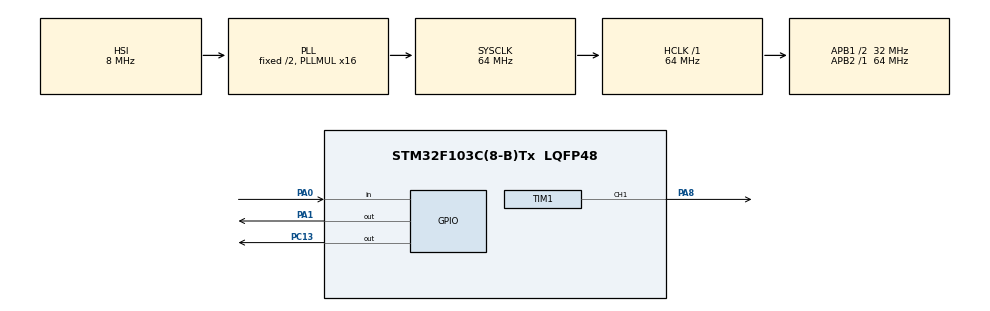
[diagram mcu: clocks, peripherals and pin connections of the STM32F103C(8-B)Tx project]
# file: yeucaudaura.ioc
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Mcu.Family=STM32F1
Mcu.Name=STM32F103C(8-B)Tx
Mcu.Package=LQFP48
NVIC.PriorityGroup=NVIC_PRIORITYGROUP_4
PA0-WKUP.GPIO_PuPd=GPIO_PULLUP
PA0-WKUP.Signal=GPIO_Input
PA1.Signal=GPIO_Output
PA13.Mode=Serial_Wire
PA13.Signal=SYS_JTMS-SWDIO
PA14.Mode=Serial_Wire
PA14.Signal=SYS_JTCK-SWCLK
PA8.Signal=S_TIM1_CH1
PC13-TAMPER-RTC.Signal=GPIO_Output
PD0-OSC_IN.Mode=HSE-External-Oscillator
PD0-OSC_IN.Signal=RCC_OSC_IN
PD1-OSC_OUT.Mode=HSE-External-Oscillator
PD1-OSC_OUT.Signal=RCC_OSC_OUT
ProjectManager.HeapSize=0x200
ProjectManager.StackSize=0x400
ProjectManager.TargetToolchain=MDK-ARM V5
RCC.AHBFreq_Value=64000000
RCC.APB1CLKDivider=RCC_HCLK_DIV2
RCC.APB1Freq_Value=32000000
RCC.APB1TimFreq_Value=64000000
RCC.APB2Freq_Value=64000000
RCC.APB2TimFreq_Value=64000000
RCC.HCLKFreq_Value=64000000
RCC.PLLMUL=RCC_PLL_MUL16
RCC.SYSCLKFreq_VALUE=64000000
RCC.SYSCLKSource=RCC_SYSCLKSOURCE_PLLCLK
RCC.USBFreq_Value=64000000
SH.S_TIM1_CH1.0=TIM1_CH1,PWM Generation1 CH1
TIM1.Channel-PWM\ Generation1\ CH1=TIM_CHANNEL_1
TIM1.Period=999
TIM1.Prescaler=63
VP_TIM1_VS_ClockSourceINT.Mode=Internal
board=custom

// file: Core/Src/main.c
/* USER CODE BEGIN Header */
/**
  ******************************************************************************
  * @file           : main.c
  * @brief          : Main program body
  ******************************************************************************
  * @attention
  *
  * Copyright (c) 2024 STMicroelectronics.
  * All rights reserved.
  *
  * This software is licensed under terms that can be found in the LICENSE file
  * in the root directory of this software component.
  * If no LICENSE file comes with this software, it is provided AS-IS.
  *
  ******************************************************************************
  */
/* USER CODE END Header */
#include "main.h"

TIM_HandleTypeDef htim1;

void SystemClock_Config(void);
static void MX_GPIO_Init(void);
static void MX_TIM1_Init(void);

/* USER CODE BEGIN 0 */
uint8_t sta_button;
uint8_t dosang;
void led_on_off() // bat/tat den
{
		if(sta_button == 0)
		{
			htim1.Instance->CCR1 = 999;
			HAL_Delay(100);
			htim1.Instance->CCR1 = 0;
			HAL_Delay(100);
		}

}
void led_rising_falling() // tang giam do sang cua den
{
	if(sta_button == 1)
	{
		htim1.Instance->CCR1 = dosang;
		dosang++;
		HAL_Delay(10);
		if(dosang == 999)
		{
			dosang =0;

		}
	}

}
/* USER CODE END 0 */

int main(void)
{

  /* MCU Configuration--------------------------------------------------------*/

  /* Reset of all peripherals, Initializes the Flash interface and the Systick. */
  HAL_Init();

  /* Configure the system clock */
  SystemClock_Config();

  /* Initialize all configured peripherals */
  MX_GPIO_Init();
  MX_TIM1_Init();
  /* USER CODE BEGIN 2 */
	HAL_TIM_PWM_Start(&htim1, TIM_CHANNEL_1);
  /* USER CODE END 2 */

  /* Infinite loop */
  while (1)
  {

    /* USER CODE BEGIN 3 */
		sta_button = HAL_GPIO_ReadPin(GPIOA, GPIO_PIN_0);
		{
			switch(sta_button)
			{
				case 1:
					led_on_off();
					break;
				case 2:
					led_rising_falling();
					break;
			}
		}
	}
  /* USER CODE END 3 */
}

void SystemClock_Config(void)
{
  RCC_OscInitTypeDef RCC_OscInitStruct = {0};
  RCC_ClkInitTypeDef RCC_ClkInitStruct = {0};

  /** Initializes the RCC Oscillators according to the specified parameters
  * in the RCC_OscInitTypeDef structure.
  */
  RCC_OscInitStruct.OscillatorType = RCC_OSCILLATORTYPE_HSI;
  RCC_OscInitStruct.HSIState = RCC_HSI_ON;
  RCC_OscInitStruct.HSICalibrationValue = RCC_HSICALIBRATION_DEFAULT;
  RCC_OscInitStruct.PLL.PLLState = RCC_PLL_ON;
  RCC_OscInitStruct.PLL.PLLSource = RCC_PLLSOURCE_HSI_DIV2;
  RCC_OscInitStruct.PLL.PLLMUL = RCC_PLL_MUL16;
  if (HAL_RCC_OscConfig(&RCC_OscInitStruct) != HAL_OK)
  {
    Error_Handler();
  }

  /** Initializes the CPU, AHB and APB buses clocks
  */
  RCC_ClkInitStruct.ClockType = RCC_CLOCKTYPE_HCLK|RCC_CLOCKTYPE_SYSCLK
                              |RCC_CLOCKTYPE_PCLK1|RCC_CLOCKTYPE_PCLK2;
  RCC_ClkInitStruct.SYSCLKSource = RCC_SYSCLKSOURCE_PLLCLK;
  RCC_ClkInitStruct.AHBCLKDivider = RCC_SYSCLK_DIV1;
  RCC_ClkInitStruct.APB1CLKDivider = RCC_HCLK_DIV2;
  RCC_ClkInitStruct.APB2CLKDivider = RCC_HCLK_DIV1;

  if (HAL_RCC_ClockConfig(&RCC_ClkInitStruct, FLASH_LATENCY_2) != HAL_OK)
  {
    Error_Handler();
  }
}

static void MX_TIM1_Init(void)
{

  TIM_ClockConfigTypeDef sClockSourceConfig = {0};
  TIM_MasterConfigTypeDef sMasterConfig = {0};
  TIM_OC_InitTypeDef sConfigOC = {0};
  TIM_BreakDeadTimeConfigTypeDef sBreakDeadTimeConfig = {0};

  htim1.Instance = TIM1;
  htim1.Init.Prescaler = 63;
  htim1.Init.CounterMode = TIM_COUNTERMODE_UP;
  htim1.Init.Period = 999;
  htim1.Init.ClockDivision = TIM_CLOCKDIVISION_DIV1;
  htim1.Init.RepetitionCounter = 0;
  htim1.Init.AutoReloadPreload = TIM_AUTORELOAD_PRELOAD_DISABLE;
  if (HAL_TIM_Base_Init(&htim1) != HAL_OK)
  {
    Error_Handler();
  }
  sClockSourceConfig.ClockSource = TIM_CLOCKSOURCE_INTERNAL;
  if (HAL_TIM_ConfigClockSource(&htim1, &sClockSourceConfig) != HAL_OK)
  {
    Error_Handler();
  }
  if (HAL_TIM_PWM_Init(&htim1) != HAL_OK)
  {
    Error_Handler();
  }
  sMasterConfig.MasterOutputTrigger = TIM_TRGO_RESET;
  sMasterConfig.MasterSlaveMode = TIM_MASTERSLAVEMODE_DISABLE;
  if (HAL_TIMEx_MasterConfigSynchronization(&htim1, &sMasterConfig) != HAL_OK)
  {
    Error_Handler();
  }
  sConfigOC.OCMode = TIM_OCMODE_PWM1;
  sConfigOC.Pulse = 0;
  sConfigOC.OCPolarity = TIM_OCPOLARITY_HIGH;
  sConfigOC.OCNPolarity = TIM_OCNPOLARITY_HIGH;
  sConfigOC.OCFastMode = TIM_OCFAST_DISABLE;
  sConfigOC.OCIdleState = TIM_OCIDLESTATE_RESET;
  sConfigOC.OCNIdleState = TIM_OCNIDLESTATE_RESET;
  if (HAL_TIM_PWM_ConfigChannel(&htim1, &sConfigOC, TIM_CHANNEL_1) != HAL_OK)
  {
    Error_Handler();
  }
  sBreakDeadTimeConfig.OffStateRunMode = TIM_OSSR_DISABLE;
  sBreakDeadTimeConfig.OffStateIDLEMode = TIM_OSSI_DISABLE;
  sBreakDeadTimeConfig.LockLevel = TIM_LOCKLEVEL_OFF;
  sBreakDeadTimeConfig.DeadTime = 0;
  sBreakDeadTimeConfig.BreakState = TIM_BREAK_DISABLE;
  sBreakDeadTimeConfig.BreakPolarity = TIM_BREAKPOLARITY_HIGH;
  sBreakDeadTimeConfig.AutomaticOutput = TIM_AUTOMATICOUTPUT_DISABLE;
  if (HAL_TIMEx_ConfigBreakDeadTime(&htim1, &sBreakDeadTimeConfig) != HAL_OK)
  {
    Error_Handler();
  }
  HAL_TIM_MspPostInit(&htim1);

}

static void MX_GPIO_Init(void)
{
  GPIO_InitTypeDef GPIO_InitStruct = {0};

  /* GPIO Ports Clock Enable */
  __HAL_RCC_GPIOC_CLK_ENABLE();
  __HAL_RCC_GPIOD_CLK_ENABLE();
  __HAL_RCC_GPIOA_CLK_ENABLE();

  /*Configure GPIO pin Output Level */
  HAL_GPIO_WritePin(GPIOC, GPIO_PIN_13, GPIO_PIN_RESET);

  /*Configure GPIO pin Output Level */
  HAL_GPIO_WritePin(GPIOA, GPIO_PIN_1, GPIO_PIN_RESET);

  /*Configure GPIO pin : PC13 */
  GPIO_InitStruct.Pin = GPIO_PIN_13;
  GPIO_InitStruct.Mode = GPIO_MODE_OUTPUT_PP;
  GPIO_InitStruct.Pull = GPIO_NOPULL;
  GPIO_InitStruct.Speed = GPIO_SPEED_FREQ_LOW;
  HAL_GPIO_Init(GPIOC, &GPIO_InitStruct);

  /*Configure GPIO pin : PA0 */
  GPIO_InitStruct.Pin = GPIO_PIN_0;
  GPIO_InitStruct.Mode = GPIO_MODE_INPUT;
  GPIO_InitStruct.Pull = GPIO_PULLUP;
  HAL_GPIO_Init(GPIOA, &GPIO_InitStruct);

  /*Configure GPIO pin : PA1 */
  GPIO_InitStruct.Pin = GPIO_PIN_1;
  GPIO_InitStruct.Mode = GPIO_MODE_OUTPUT_PP;
  GPIO_InitStruct.Pull = GPIO_NOPULL;
  GPIO_InitStruct.Speed = GPIO_SPEED_FREQ_LOW;
  HAL_GPIO_Init(GPIOA, &GPIO_InitStruct);

}

void Error_Handler(void)
{
  __disable_irq();
  while (1)
  {
  }
}
